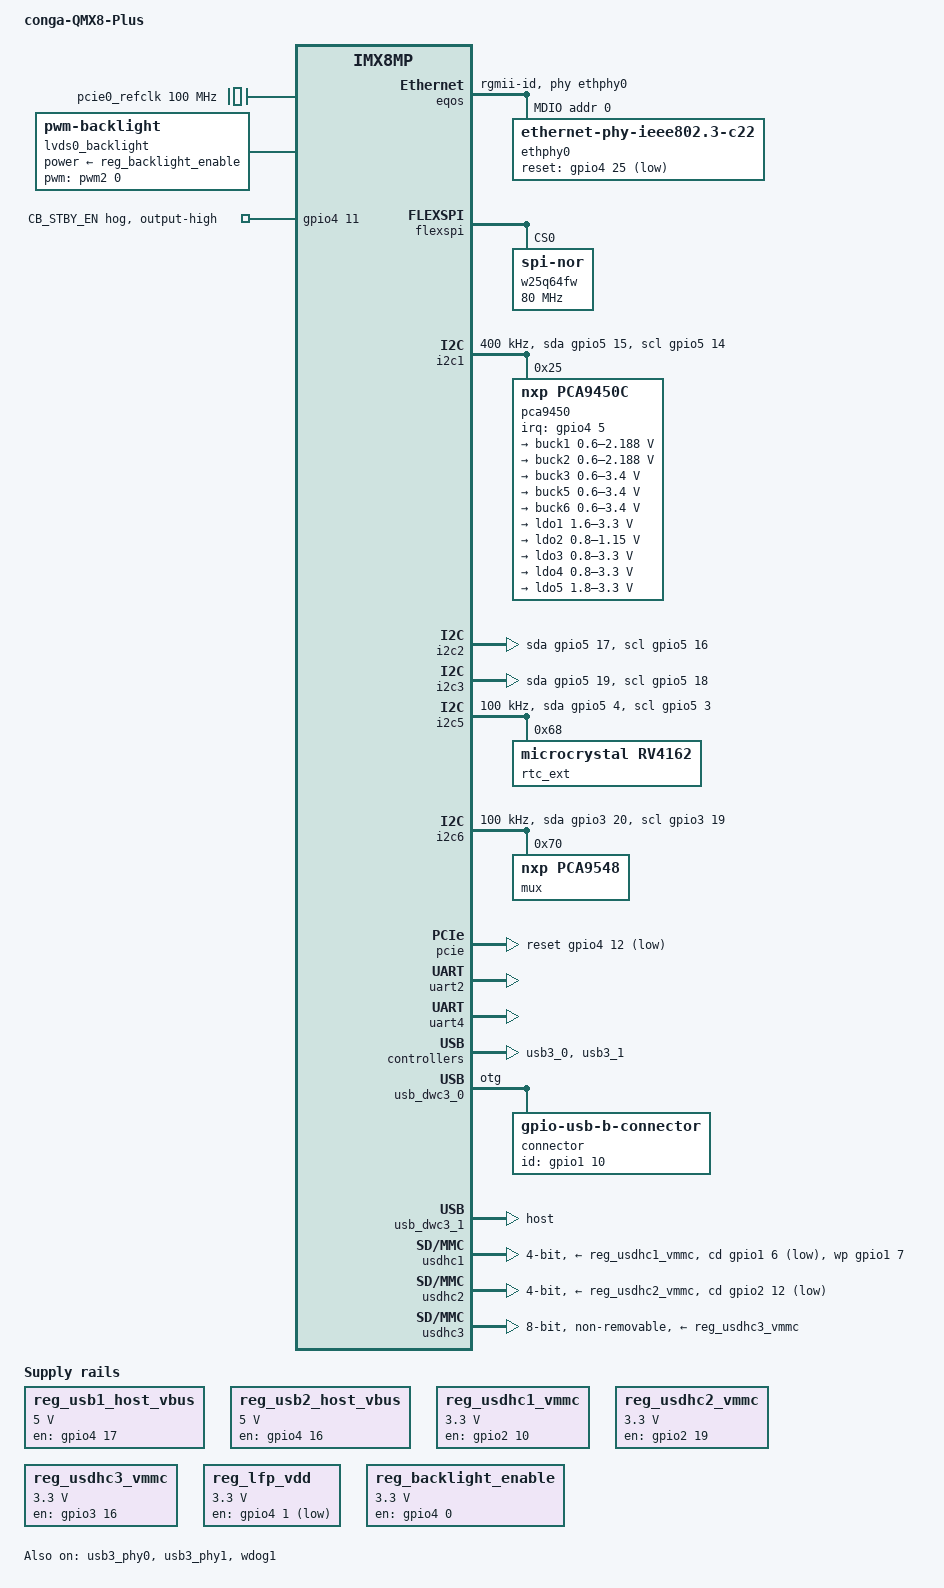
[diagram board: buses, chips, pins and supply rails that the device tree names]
// SPDX-License-Identifier: (GPL-2.0+ OR MIT)
// SPDX-FileCopyrightText: 2019 NXP
// SPDX-FileCopyrightText: 2022 congatec GmbH
// SPDX-FileCopyrightText: 2023 Pengutronix, Johannes Zink <j.zink@pengutronix.de>

#include <arm64/freescale/imx8mp.dtsi>
#include "imx8mp.dtsi"
#include <dt-bindings/usb/pd.h>
#include <dt-bindings/phy/phy-imx8-pcie.h>
#include <dt-bindings/net/ti-dp83867.h>

/ {
	model = "conga-QMX8-Plus";
	compatible = "congatec,qmx8p", "fsl,imx8mp";

	aliases {
		ethernet0 = &eqos;
		rtc0 = &rtc_ext;     /* external I2C RTC M4162 */
		rtc1 = &snvs_rtc;    /* internal in SoC */
	};

	pcie0_refclk: pcie0-refclk {
		compatible = "fixed-clock";
		#clock-cells= <0>;
		clock-frequency = <100000000>;
	};

	reg_usb1_host_vbus: regulator-usb1-vbus {
		compatible = "regulator-fixed";
		pinctrl-names = "default";
		pinctrl-0 = <&pinctrl_usb1_vbus>;
		gpio = <&gpio4 17 GPIO_ACTIVE_HIGH>;
		regulator-name = "usb1_host_vbus";
		regulator-min-microvolt = <5000000>;
		regulator-max-microvolt = <5000000>;
		enable-active-high;
	};

	reg_usb2_host_vbus: regulator-usb2-vbus {
		compatible = "regulator-fixed";
		pinctrl-names = "default";
		pinctrl-0 = <&pinctrl_usb2_vbus>;
		gpio = <&gpio4 16 GPIO_ACTIVE_HIGH>;
		regulator-name = "usb2_host_vbus";
		regulator-min-microvolt = <5000000>;
		regulator-max-microvolt = <5000000>;
		enable-active-high;
	};

	/* reset line for SD1 (Qseven SD Card) interface */
	reg_usdhc1_vmmc: regulator-usdhc1 {
		compatible = "regulator-fixed";
		pinctrl-names = "default";
		pinctrl-0 = <&pinctrl_usdhc1_vmmc>;
		gpio = <&gpio2 10 GPIO_ACTIVE_HIGH>;
		regulator-name = "3v3-sd1";
		regulator-min-microvolt = <3300000>;
		regulator-max-microvolt = <3300000>;
		enable-active-high;
		startup-delay-us = <100>;
		off-on-delay-us = <12000>;
	};

	/* reset line for SD2 (on-SoM µSD) interface */
	reg_usdhc2_vmmc: regulator-usdhc2 {
		compatible = "regulator-fixed";
		pinctrl-names = "default";
		pinctrl-0 = <&pinctrl_usdhc2_vmmc>;
		gpio = <&gpio2 19 GPIO_ACTIVE_HIGH>;
		regulator-name = "3v3-sd2";
		regulator-min-microvolt = <3300000>;
		regulator-max-microvolt = <3300000>;
		enable-active-high;
		startup-delay-us = <100>;
		off-on-delay-us = <12000>;
	};

	/* reset line for SD3 (on-SoM eMMC) interface */
	reg_usdhc3_vmmc: regulator-usdhc3 {
		compatible = "regulator-fixed";
		pinctrl-names = "default";
		pinctrl-0 = <&pinctrl_usdhc3_vmmc>;
		gpio = <&gpio3 16 GPIO_ACTIVE_HIGH>;
		regulator-name = "3v3-sd3";
		regulator-min-microvolt = <3300000>;
		regulator-max-microvolt = <3300000>;
		enable-active-high;
		startup-delay-us = <100>;
		off-on-delay-us = <12000>;
	};

	reg_lfp_vdd: regulator-lfp-vdd {
		compatible = "regulator-fixed";
		pinctrl-names = "default";
		pinctrl-0 = <&pinctrl_display_vdd_en>;
		gpio = <&gpio4 1 GPIO_ACTIVE_HIGH>; // LFP0_VDD_EN
		regulator-name = "Display_Panel_Vdd";
		regulator-min-microvolt = <3300000>;
		regulator-max-microvolt = <3300000>;
	};

	reg_backlight_enable: regulator-backlight {
		compatible = "regulator-fixed";
		pinctrl-names = "default";
		pinctrl-0 = <&pinctrl_lvds0_backlight>;
		gpio = <&gpio4 0 GPIO_ACTIVE_HIGH>;
		regulator-name = "backlight";
		regulator-min-microvolt = <3300000>;
		regulator-max-microvolt = <3300000>;
		enable-active-high;
	};

	lvds0_backlight: lvds0-backlight {
		compatible = "pwm-backlight";
		pwms = <&pwm2 0 100000 0>;
		power-supply = <&reg_backlight_enable>;
		brightness-levels = <0 100>;
		num-interpolated-steps = <100>;
		default-brightness-level = <80>;
	};

	fan0: pwm-fan {
		compatible = "pwm-fan";
		pwms = <&pwm4 4 100000 0>;
		pinctrl-names = "default";
		pinctrl-0 = <&pinctrl_interrupt_fan_in>;
		#cooling-cells = <2>;
		interrupt-parent = <&gpio5>;
		interrupts = <0 IRQ_TYPE_EDGE_FALLING>;
		status = "disabled";
	};
};

&A53_0 {
	cpu-supply = <&buck2>;
};

&A53_1 {
	cpu-supply = <&buck2>;
};

&A53_2 {
	cpu-supply = <&buck2>;
};

&A53_3 {
	cpu-supply = <&buck2>;
};

&pwm1 {
	pinctrl-names = "default";
	pinctrl-0 = <&pinctrl_pwm1>;
};

&pwm2 {
	pinctrl-names = "default";
	pinctrl-0 = <&pinctrl_pwm2>;
};

&pwm4 {
	pinctrl-names = "default";
	pinctrl-0 = <&pinctrl_pwm4>;
};

&ecspi1 {
	pinctrl-names = "default";
	pinctrl-0 = <&pinctrl_ecspi1 &pinctrl_ecspi1_cs>;
	cs-gpios = <&gpio5 9 GPIO_ACTIVE_LOW>;
	#address-cells = <1>;
	#size-cells = <0>;
};

&ecspi2 {
	pinctrl-names = "default";
	pinctrl-0 = <&pinctrl_ecspi2 &pinctrl_ecspi2_cs0>;
	cs-gpios = <&gpio5 13 GPIO_ACTIVE_LOW>;
};

&eqos {
	pinctrl-names = "default";
	pinctrl-0 = <&pinctrl_eqos>, <&pinctrl_gbe0_rst>;
	phy-mode = "rgmii-id";
	phy-handle = <&ethphy0>;

	mdio {
		compatible = "snps,dwmac-mdio";
		#address-cells = <1>;
		#size-cells = <0>;

		/* on-SoM PHY */
		ethphy0: ethernet-phy@0 {
			compatible = "ethernet-phy-ieee802.3-c22";
			reg = <0>;
			reset-gpios = <&gpio4 25 GPIO_ACTIVE_LOW>;
			reset-assert-us = <1000>;
			reset-deassert-us = <1000>;
			ti,rx-internal-delay = <DP83867_RGMIIDCTL_2_00_NS>;
			ti,tx-internal-delay = <DP83867_RGMIIDCTL_2_00_NS>;
			ti,fifo-depth = <DP83867_PHYCR_FIFO_DEPTH_8_B_NIB>;
			ti,clk-output-sel = <DP83867_CLK_O_SEL_OFF>;
		};
	};
};

&flexspi {
	pinctrl-names = "default";
	pinctrl-0 = <&pinctrl_flexspi0>;
	status = "okay";

	w25q64fw: flash@0 {
		compatible = "jedec,spi-nor";
		reg = <0>;
		spi-max-frequency = <80000000>;
		spi-tx-bus-width = <4>;
		spi-rx-bus-width = <4>;
	};
};

&flexcan1 {
	pinctrl-names = "default";
	pinctrl-0 = <&pinctrl_flexcan1>;
};

&flexcan2 {
	pinctrl-names = "default";
	pinctrl-0 = <&pinctrl_flexcan2>;
};

&i2c1 {
	clock-frequency = <400000>;
	pinctrl-names = "default", "gpio";
	pinctrl-0 = <&pinctrl_i2c1>;
	pinctrl-1 = <&pinctrl_i2c1_gpio>;
	scl-gpios = <&gpio5 14 (GPIO_ACTIVE_HIGH | GPIO_OPEN_DRAIN)>;
	sda-gpios = <&gpio5 15 (GPIO_ACTIVE_HIGH | GPIO_OPEN_DRAIN)>;
	status = "okay";

	pca9450: pmic@25 {
		compatible = "nxp,pca9450c";
		reg = <0x25>;
		pinctrl-0 = <&pinctrl_pmic>;
		interrupt-parent = <&gpio4>; /* PMIC_nINT */
		interrupts = <5 IRQ_TYPE_LEVEL_LOW>;

		regulators {
			buck1: BUCK1 {
				regulator-name = "BUCK1";
				regulator-min-microvolt = <600000>;
				regulator-max-microvolt = <2187500>;
				regulator-boot-on;
				regulator-always-on;
				regulator-ramp-delay = <3125>;
			};

			buck2: BUCK2 {
				regulator-name = "BUCK2";
				regulator-min-microvolt = <600000>;
				regulator-max-microvolt = <2187500>;
				regulator-boot-on;
				regulator-always-on;
				regulator-ramp-delay = <3125>;
			};

			buck3: BUCK3 {
				regulator-name = "BUCK3";
				regulator-min-microvolt = <600000>;
				regulator-max-microvolt = <3400000>;
				regulator-boot-on;
				regulator-always-on;
			};

			buck5: BUCK5 {
				regulator-name = "BUCK5";
				regulator-min-microvolt = <600000>;
				regulator-max-microvolt = <3400000>;
				regulator-boot-on;
				regulator-always-on;
			};

			buck6: BUCK6 {
				regulator-name = "BUCK6";
				regulator-min-microvolt = <600000>;
				regulator-max-microvolt = <3400000>;
				regulator-boot-on;
				regulator-always-on;
			};

			ldo1: LDO1 {
				regulator-name = "LDO1";
				regulator-min-microvolt = <1600000>;
				regulator-max-microvolt = <3300000>;
				regulator-boot-on;
				regulator-always-on;
			};

			ldo2: LDO2 {
				regulator-name = "LDO2";
				regulator-min-microvolt = <800000>;
				regulator-max-microvolt = <1150000>;
				regulator-boot-on;
				regulator-always-on;
			};

			ldo3: LDO3 {
				regulator-name = "LDO3";
				regulator-min-microvolt = <800000>;
				regulator-max-microvolt = <3300000>;
				regulator-boot-on;
				regulator-always-on;
			};

			ldo4: LDO4 {
				regulator-name = "LDO4";
				regulator-min-microvolt = <800000>;
				regulator-max-microvolt = <3300000>;
				regulator-boot-on;
				regulator-always-on;
			};

			ldo5: LDO5 {
				regulator-name = "LDO5";
				regulator-min-microvolt = <1800000>;
				regulator-max-microvolt = <3300000>;
			};
		};
	};
};

&i2c2 {
	pinctrl-names = "default", "gpio";
	pinctrl-0 = <&pinctrl_i2c2>;
	pinctrl-1 = <&pinctrl_i2c2_gpio>;
	scl-gpios = <&gpio5 16 (GPIO_ACTIVE_HIGH | GPIO_OPEN_DRAIN)>;
	sda-gpios = <&gpio5 17 (GPIO_ACTIVE_HIGH | GPIO_OPEN_DRAIN)>;
};

&i2c3 {
	pinctrl-names = "default", "gpio";
	pinctrl-0 = <&pinctrl_i2c3>;
	pinctrl-1 = <&pinctrl_i2c3_gpio>;
	scl-gpios = <&gpio5 18 (GPIO_ACTIVE_HIGH | GPIO_OPEN_DRAIN)>;
	sda-gpios = <&gpio5 19 (GPIO_ACTIVE_HIGH | GPIO_OPEN_DRAIN)>;
};

/* i2c-5: RTC */
&i2c5 {
	clock-frequency = <100000>;
	pinctrl-names = "default", "gpio";
	pinctrl-0 = <&pinctrl_i2c5>;
	pinctrl-1 = <&pinctrl_i2c5_gpio>;
	scl-gpios = <&gpio5 3 (GPIO_ACTIVE_HIGH | GPIO_OPEN_DRAIN)>;
	sda-gpios = <&gpio5 4 (GPIO_ACTIVE_HIGH | GPIO_OPEN_DRAIN)>;
	status = "okay";

	rtc_ext: rtc@68 {
		compatible = "microcrystal,rv4162";
		reg = <0x68>;
	};
};

/* i2c-6: I2C splitter */
&i2c6 {
	clock-frequency = <100000>;
	pinctrl-names = "default", "gpio";
	pinctrl-0 = <&pinctrl_i2c6>;
	pinctrl-1 = <&pinctrl_i2c6_gpio>;
	scl-gpios = <&gpio3 19 (GPIO_ACTIVE_HIGH | GPIO_OPEN_DRAIN)>;
	sda-gpios = <&gpio3 20 (GPIO_ACTIVE_HIGH | GPIO_OPEN_DRAIN)>;
	status = "okay";

	mux@70 {
		compatible = "nxp,pca9548";
		reg = <0x70>;
		#address-cells = <1>;
		#size-cells = <0>;

		/* MIPI-CSI 1 */
		imux0: i2c@0 {
			reg = <0>;
			#address-cells = <1>;
			#size-cells = <0>;
		};

		/* MIPI-CSI 2 */
		imux1: i2c@1 {
			reg = <1>;
			#address-cells = <1>;
			#size-cells = <0>;
		};

		/* Qseven LVDS_DID */
		imux2: i2c@2 {
			reg = <2>;
			#address-cells = <1>;
			#size-cells = <0>;
		};

		/* Qseven LVDS_BLC */
		imux3: i2c@3 {
			reg = <3>;
			#address-cells = <1>;
			#size-cells = <0>;
		};

		/* Ports 4 .. 7 not used */
	};
};

&pcie {
	pinctrl-names = "default";
	pinctrl-0 = <&pinctrl_pcie>;
	reset-gpio = <&gpio4 12 GPIO_ACTIVE_LOW>;
	fsl,max-link-speed = <2>;
};

&pcie_phy {
	fsl,refclk-pad-mode = <IMX8_PCIE_REFCLK_PAD_INPUT>;
	clocks = <&pcie0_refclk>;
	clock-names= "ref";
};

&uart1 { /* UART0 connector on Qseven */
	pinctrl-names = "default";
	pinctrl-0 = <&pinctrl_uart1>;
	uart-has-rtscts;
};

&uart2 {
	/* on-SoM UART connector */
	pinctrl-names = "default";
	pinctrl-0 = <&pinctrl_uart2>;
	status = "okay";
};

&uart4 {
	pinctrl-names = "default";
	pinctrl-0 = <&pinctrl_uart4>;
	status = "okay";
};

&usb3_phy0 { /* on-SoM hub */
	fsl,phy-tx-vref-tune = <8>;		// note: downstream
	fsl,phy-tx-preemp-amp-tune = <3>;	// note: downstream
	vbus-supply = <&reg_usb1_host_vbus>;
	status = "okay";
};

&usb3_0 {
	status = "okay";
};

&usb_dwc3_0 { /* Qseven USB_P1 */
	dr_mode = "otg";
	usb-role-switch;
	role-switch-default-mode = "host";

	connector {
		compatible = "gpio-usb-b-connector", "usb-b-connector";
		id-gpios = <&gpio1 10 GPIO_ACTIVE_HIGH>;
		pinctrl-names = "default";
		pinctrl-0 = <&pinctrl_usb1>, <&pinctrl_usb_overcurrent>;
	};
};

&usb3_phy1 {
	vbus-supply = <&reg_usb2_host_vbus>;
	status = "okay";
};

&usb3_1 {
	status = "okay";
};

&usb_dwc3_1 { /* Qseven USB_P0 */
	dr_mode = "host";
	status = "okay";
};

/* Qseven SD Card interface */
&usdhc1 {
	pinctrl-names = "default", "state_100mhz", "state_200mhz";
	pinctrl-0 = <&pinctrl_usdhc1>, <&pinctrl_usdhc1_gpio>;
	pinctrl-1 = <&pinctrl_usdhc1_100mhz>, <&pinctrl_usdhc1_gpio>;
	pinctrl-2 = <&pinctrl_usdhc1_200mhz>, <&pinctrl_usdhc1_gpio>;
	cd-gpios = <&gpio1 6 GPIO_ACTIVE_LOW>;
	wp-gpios = <&gpio1 7 GPIO_ACTIVE_HIGH>;
	vmmc-supply = <&reg_usdhc1_vmmc>;
	bus-width = <4>;
};

/* on-SoM µSD Card slot */
&usdhc2 {
	pinctrl-names = "default", "state_100mhz", "state_200mhz";
	pinctrl-0 = <&pinctrl_usdhc2>, <&pinctrl_usdhc2_gpio>;
	pinctrl-1 = <&pinctrl_usdhc2_100mhz>, <&pinctrl_usdhc2_gpio>;
	pinctrl-2 = <&pinctrl_usdhc2_200mhz>, <&pinctrl_usdhc2_gpio>;
	cd-gpios = <&gpio2 12 GPIO_ACTIVE_LOW>;
	vmmc-supply = <&reg_usdhc2_vmmc>;
	bus-width = <4>;
	status = "okay";
};

/* on-SoM eMMC */
&usdhc3 {
	pinctrl-names = "default", "state_100mhz", "state_200mhz";
	pinctrl-0 = <&pinctrl_usdhc3>;
	pinctrl-1 = <&pinctrl_usdhc3_100mhz>;
	pinctrl-2 = <&pinctrl_usdhc3_200mhz>;
	vmmc-supply = <&reg_usdhc3_vmmc>;
	bus-width = <8>;
	non-removable;
	no-sd;
	no-sdio;
	status = "okay";
};

&wdog1 {
	pinctrl-names = "default";
	pinctrl-0 = <&pinctrl_wdog>;
	fsl,ext-reset-output;
	status = "okay";
};

&gpio1 {
	pinctrl-names = "default";
	pinctrl-0 = <&pinctrl_gbe0_phy_reg>;
};

&gpio4 {
	stby_en-hog {
		gpio-hog;
		gpios = <11 GPIO_ACTIVE_HIGH>;
		output-high;
		line-name = "CB_STBY_EN";
	};
};

&iomuxc {
	pinctrl-names = "default";
	pinctrl-0 =
		<&pinctrl_hog>,
		<&pinctrl_android_buttons>,
		<&pinctrl_pm>,
		<&pinctrl_q7_suspend>,
		<&pinctrl_q7_wdt>;

	pinctrl_hog: hog-grp {
		fsl,pins = <
			MX8MP_IOMUXC_SAI1_RXD7__GPIO4_IO09		0x01c0 /* PM_WAKE#   (X19:32) */
			MX8MP_IOMUXC_SAI1_TXD7__GPIO4_IO19		0x01c0 /* SMB_ALERT# (X19:20) */
			MX8MP_IOMUXC_SAI3_TXFS__GPIO4_IO31		0x01c0 /* I2S_RST# */
		>;
	};

	pinctrl_display_vdd_en: lvds-vdd-enable-grp {
		fsl,pins = <
			MX8MP_IOMUXC_SAI1_RXC__GPIO4_IO01		0x0100 /* LFP_VDD_EN */
		>;
	};

	pinctrl_hdmi: hdmi-grp {
		fsl,pins = <
			MX8MP_IOMUXC_HDMI_DDC_SCL__HDMIMIX_HDMI_SCL	0x400001c3
			MX8MP_IOMUXC_HDMI_DDC_SDA__HDMIMIX_HDMI_SDA	0x400001c3
			MX8MP_IOMUXC_HDMI_HPD__HDMIMIX_HDMI_HPD		0x40000019
			MX8MP_IOMUXC_HDMI_CEC__HDMIMIX_HDMI_CEC		0x40000019
		>;
	};

	/* On module Android buttons (X7) */
	pinctrl_android_buttons: androidbutton-grp {
		fsl,pins = <
			MX8MP_IOMUXC_SAI1_RXD5__GPIO4_IO07		0x01c0 /* X7-2: Btn Vol Up */
			MX8MP_IOMUXC_SD1_DATA4__GPIO2_IO06		0x01c0 /* X7-3: Btn Home */
			MX8MP_IOMUXC_SD1_DATA5__GPIO2_IO07		0x01c0 /* X7-4: Btn Search */
			MX8MP_IOMUXC_SD1_DATA6__GPIO2_IO08		0x01c0 /* X7-5: Btn Back */
			MX8MP_IOMUXC_SAI1_RXD6__GPIO4_IO08		0x01c0 /* X7-6: Btn Menu */
			MX8MP_IOMUXC_SD1_DATA7__GPIO2_IO09		0x01c0 /* X7-7: Btn Vol Down */
		>;
	};

	/* Qseven PM signals */
	pinctrl_pm: pm-grp {
		fsl,pins = <
			MX8MP_IOMUXC_SAI1_RXD0__GPIO4_IO02		0x01c0 /* Q7-21: Sleep Btn */
			MX8MP_IOMUXC_SAI1_TXFS__GPIO4_IO10		0x01c0 /* Q7-22: Lid Btn */
			MX8MP_IOMUXC_SAI1_RXD4__GPIO4_IO06		0x01c0 /* Q7-27: Bat Low */
			MX8MP_IOMUXC_SAI1_RXD1__GPIO4_IO03		0x01c0 /* Q7-69: Thrm */
			MX8MP_IOMUXC_SAI1_MCLK__GPIO4_IO20		0x01c0 /* Q7-71: Thrm Trip (X19:19) */
		>;
	};

	/* Qseven WDT */
	pinctrl_q7_wdt: q7-wdt-grp {
		fsl,pins = <
			MX8MP_IOMUXC_SAI1_RXD2__GPIO4_IO04		0x01c0 /* Q7-70: WDT Trig */
			MX8MP_IOMUXC_SAI1_TXD1__GPIO4_IO13		0x0100 /* Q7-72: WDT Out */
		>;
	};

	/* Qseven suspend signals */
	pinctrl_q7_suspend: q7-suspend-grp {
		fsl,pins = <
			MX8MP_IOMUXC_SAI1_TXC__GPIO4_IO11		0x0100 /* Q7-18: SUS_S3# (enable signal from PMIC) */
			MX8MP_IOMUXC_SAI3_TXD__GPIO5_IO01		0x0100 /* Q7-19: SUS_STAT | GP_OUT0*/
		>;
	};

	/* USB overcurrent */
	pinctrl_usb_overcurrent: usb-overcurrent-grp {
		fsl,pins = <
			MX8MP_IOMUXC_GPIO1_IO13__USB1_OTG_OC		0x01c0
			MX8MP_IOMUXC_SAI3_RXC__GPIO4_IO29		0x01c0 /* USB1 OC as GPIO */
		>;
	};

	pinctrl_pwm1: pwm1-grp {
		fsl,pins = <
			MX8MP_IOMUXC_SPDIF_EXT_CLK__PWM1_OUT		0x116
		>;
	};

	pinctrl_pwm2: pwm2-grp {
		fsl,pins = <
			MX8MP_IOMUXC_SAI5_RXD0__PWM2_OUT		0x116
		>;
	};

	pinctrl_pwm4: pwm4-grp {
		fsl,pins = <
			MX8MP_IOMUXC_SAI3_MCLK__PWM4_OUT		0x116
		>;
	};

	pinctrl_ecspi1: ecspi1-grp {
		fsl,pins = <
			MX8MP_IOMUXC_ECSPI1_SCLK__ECSPI1_SCLK		0x82
			MX8MP_IOMUXC_ECSPI1_MOSI__ECSPI1_MOSI		0x82
			MX8MP_IOMUXC_ECSPI1_MISO__ECSPI1_MISO		0x82
		>;
	};

	pinctrl_ecspi1_cs: ecspi1cs-grp {
		fsl,pins = <
			MX8MP_IOMUXC_ECSPI1_SS0__GPIO5_IO09		0x01c0
		>;
	};

	pinctrl_ecspi2: ecspi2-grp {
		fsl,pins = <
			MX8MP_IOMUXC_ECSPI2_SCLK__ECSPI2_SCLK		0x82
			MX8MP_IOMUXC_ECSPI2_MOSI__ECSPI2_MOSI		0x82
			MX8MP_IOMUXC_ECSPI2_MISO__ECSPI2_MISO		0x82
		>;
	};

	pinctrl_ecspi2_cs0: ecspi2cs0-grp {
		fsl,pins = <
			MX8MP_IOMUXC_ECSPI2_SS0__GPIO5_IO13		0x01c0
		>;
	};

	pinctrl_ecspi2_cs1: ecspi2cs1-grp {
		fsl,pins = <
			MX8MP_IOMUXC_SAI5_MCLK__GPIO3_IO25		0x01c0
		>;
	};

	pinctrl_eqos: eqos-grp {
		fsl,pins = <
			MX8MP_IOMUXC_ENET_MDC__ENET_QOS_MDC				0x3
			MX8MP_IOMUXC_ENET_MDIO__ENET_QOS_MDIO				0x3
			MX8MP_IOMUXC_ENET_RD0__ENET_QOS_RGMII_RD0			0x91
			MX8MP_IOMUXC_ENET_RD1__ENET_QOS_RGMII_RD1			0x91
			MX8MP_IOMUXC_ENET_RD2__ENET_QOS_RGMII_RD2			0x91
			MX8MP_IOMUXC_ENET_RD3__ENET_QOS_RGMII_RD3			0x91
			MX8MP_IOMUXC_ENET_RXC__CCM_ENET_QOS_CLOCK_GENERATE_RX_CLK	0x91
			MX8MP_IOMUXC_ENET_RX_CTL__ENET_QOS_RGMII_RX_CTL			0x91
			MX8MP_IOMUXC_ENET_TD0__ENET_QOS_RGMII_TD0			0x1f
			MX8MP_IOMUXC_ENET_TD1__ENET_QOS_RGMII_TD1			0x1f
			MX8MP_IOMUXC_ENET_TD2__ENET_QOS_RGMII_TD2			0x1f
			MX8MP_IOMUXC_ENET_TD3__ENET_QOS_RGMII_TD3			0x1f
			MX8MP_IOMUXC_ENET_TX_CTL__ENET_QOS_RGMII_TX_CTL			0x1f
			MX8MP_IOMUXC_ENET_TXC__CCM_ENET_QOS_CLOCK_GENERATE_TX_CLK	0x1f

			/* PTP capture INT */
			MX8MP_IOMUXC_SAI2_TXD0__ENET_QOS_1588_EVENT2_IN			0x1c0
		>;
	};

	pinctrl_flexcan1: flexcan1-grp {
		fsl,pins = <
			MX8MP_IOMUXC_SAI5_RXD2__CAN1_RX			0x150
			MX8MP_IOMUXC_SAI5_RXD1__CAN1_TX			0x150
		>;
	};

	pinctrl_flexcan2: flexcan2-grp {
		fsl,pins = <
			MX8MP_IOMUXC_UART3_TXD__CAN2_RX			0x150
			MX8MP_IOMUXC_UART3_RXD__CAN2_TX			0x150
		>;
	};

	pinctrl_flexspi0: flexspi0-grp {
		fsl,pins = <
			MX8MP_IOMUXC_NAND_ALE__FLEXSPI_A_SCLK		0x1c0
			MX8MP_IOMUXC_NAND_CE0_B__FLEXSPI_A_SS0_B	0x82
			MX8MP_IOMUXC_NAND_DATA00__FLEXSPI_A_DATA00	0x82
			MX8MP_IOMUXC_NAND_DATA01__FLEXSPI_A_DATA01	0x82
			MX8MP_IOMUXC_NAND_DATA02__FLEXSPI_A_DATA02	0x82
			MX8MP_IOMUXC_NAND_DATA03__FLEXSPI_A_DATA03	0x82
		>;
	};

	pinctrl_i2c1: i2c1-grp {
		fsl,pins = <
			MX8MP_IOMUXC_I2C1_SCL__I2C1_SCL			0x400001c3
			MX8MP_IOMUXC_I2C1_SDA__I2C1_SDA			0x400001c3
		>;
	};

	pinctrl_i2c1_gpio: i2c1-gpio-grp {
		fsl,pins = <
			MX8MP_IOMUXC_I2C1_SCL__GPIO5_IO14		0x400001c3
			MX8MP_IOMUXC_I2C1_SDA__GPIO5_IO15		0x400001c3
		>;
	};

	pinctrl_i2c2: i2c2-grp {
		fsl,pins = <
			MX8MP_IOMUXC_I2C2_SCL__I2C2_SCL			0x400001c3
			MX8MP_IOMUXC_I2C2_SDA__I2C2_SDA			0x400001c3
		>;
	};

	pinctrl_i2c3: i2c3-grp {
		fsl,pins = <
			MX8MP_IOMUXC_I2C3_SCL__I2C3_SCL			0x400001c3
			MX8MP_IOMUXC_I2C3_SDA__I2C3_SDA			0x400001c3
		>;
	};

	pinctrl_i2c5: i2c5-grp {
		fsl,pins = <
			MX8MP_IOMUXC_SPDIF_TX__I2C5_SCL			0x400001c3
			MX8MP_IOMUXC_SPDIF_RX__I2C5_SDA			0x400001c3
		>;
	};

	pinctrl_i2c6: i2c6-grp {
		fsl,pins = <
			MX8MP_IOMUXC_SAI5_RXFS__I2C6_SCL		0x400001c3
			MX8MP_IOMUXC_SAI5_RXC__I2C6_SDA			0x400001c3
		>;
	};

	pinctrl_i2c2_gpio: i2c2grp-gpio-grp {
		fsl,pins = <
			MX8MP_IOMUXC_I2C2_SCL__GPIO5_IO16		0x400001c3
			MX8MP_IOMUXC_I2C2_SDA__GPIO5_IO17		0x400001c3
		>;
	};

	pinctrl_i2c3_gpio: i2c3grp-gpio-grp {
		fsl,pins = <
			MX8MP_IOMUXC_I2C3_SCL__GPIO5_IO18		0x400001c3
			MX8MP_IOMUXC_I2C3_SDA__GPIO5_IO19		0x400001c3
		>;
	};

	pinctrl_i2c5_gpio: i2c5grp-gpio-grp {
		fsl,pins = <
			MX8MP_IOMUXC_SPDIF_TX__GPIO5_IO03		0x400001c3
			MX8MP_IOMUXC_SPDIF_RX__GPIO5_IO04		0x400001c3
		>;
	};

	pinctrl_i2c6_gpio: i2c6grp-gpio-grp {
		fsl,pins = <
			MX8MP_IOMUXC_SAI5_RXFS__GPIO3_IO19		0x400001c3
			MX8MP_IOMUXC_SAI5_RXC__GPIO3_IO20		0x400001c3
		>;
	};

	pinctrl_pcie: pcie-grp {
		fsl,pins = <
			MX8MP_IOMUXC_I2C4_SCL__PCIE_CLKREQ_B		0x160  /* #OE of on-SoM PCIe CLK generator */
			MX8MP_IOMUXC_I2C4_SDA__GPIO5_IO21		0x41   /* WAKE */
			MX8MP_IOMUXC_SAI1_TXD0__GPIO4_IO12		0x0100 /* reset */
		>;
	};

	pinctrl_pmic: pmicirq-grp {
		fsl,pins = <
			MX8MP_IOMUXC_SAI1_RXD3__GPIO4_IO05		0x41
		>;
	};

	pinctrl_sai5: sai5-grp {
		fsl,pins = <
			MX8MP_IOMUXC_SAI2_MCLK__AUDIOMIX_SAI5_MCLK	0xd6
			MX8MP_IOMUXC_SAI2_RXC__AUDIOMIX_SAI5_TX_BCLK	0xd6
			MX8MP_IOMUXC_SAI2_RXFS__AUDIOMIX_SAI5_TX_SYNC	0xd6
			MX8MP_IOMUXC_SAI3_RXD__AUDIOMIX_SAI5_RX_DATA00	0xd6
			MX8MP_IOMUXC_SAI5_RXD3__AUDIOMIX_SAI5_TX_DATA00	0xd6
		>;
	};

	pinctrl_uart1: uart1-grp {
		fsl,pins = <
			MX8MP_IOMUXC_UART1_RXD__UART1_DCE_RX		0x49
			MX8MP_IOMUXC_UART1_TXD__UART1_DCE_TX		0x49
			MX8MP_IOMUXC_SAI2_RXD0__UART1_DCE_RTS		0x49
			MX8MP_IOMUXC_SAI2_TXFS__UART1_DCE_CTS		0x49
		>;
	};

	pinctrl_uart2: uart2-grp {
		fsl,pins = <
			MX8MP_IOMUXC_UART2_RXD__UART2_DCE_RX		0x49
			MX8MP_IOMUXC_UART2_TXD__UART2_DCE_TX		0x49
		>;
	};

	pinctrl_uart4: uart4-grp {
		fsl,pins = <
			MX8MP_IOMUXC_UART4_RXD__UART4_DCE_RX		0x49
			MX8MP_IOMUXC_UART4_TXD__UART4_DCE_TX		0x49
		>;
	};

	pinctrl_usb1: usb1-grp {
		fsl,pins = <
			MX8MP_IOMUXC_GPIO1_IO10__GPIO1_IO10		0x140	/* USB1 ID */
		>;
	};

	/* Qseven SD Card interface */
	pinctrl_usdhc1: usdhc1-grp {
		fsl,pins = <
			MX8MP_IOMUXC_SD1_CLK__USDHC1_CLK		0x190
			MX8MP_IOMUXC_SD1_CMD__USDHC1_CMD		0x1d0
			MX8MP_IOMUXC_SD1_DATA0__USDHC1_DATA0		0x1d0
			MX8MP_IOMUXC_SD1_DATA1__USDHC1_DATA1		0x1d0
			MX8MP_IOMUXC_SD1_DATA2__USDHC1_DATA2		0x1d0
			MX8MP_IOMUXC_SD1_DATA3__USDHC1_DATA3		0x1d0
			MX8MP_IOMUXC_GPIO1_IO03__USDHC1_VSELECT		0xc1
		>;
	};

	pinctrl_usdhc1_100mhz: usdhc1-100mhz-grp {
		fsl,pins = <
			MX8MP_IOMUXC_SD1_CLK__USDHC1_CLK		0x194
			MX8MP_IOMUXC_SD1_CMD__USDHC1_CMD		0x1d4
			MX8MP_IOMUXC_SD1_DATA0__USDHC1_DATA0		0x1d4
			MX8MP_IOMUXC_SD1_DATA1__USDHC1_DATA1		0x1d4
			MX8MP_IOMUXC_SD1_DATA2__USDHC1_DATA2		0x1d4
			MX8MP_IOMUXC_SD1_DATA3__USDHC1_DATA3		0x1d4
			MX8MP_IOMUXC_GPIO1_IO03__USDHC1_VSELECT		0xc1
		>;
	};

	pinctrl_usdhc1_200mhz: usdhc1-200mhz-grp {
		fsl,pins = <
			MX8MP_IOMUXC_SD1_CLK__USDHC1_CLK		0x196
			MX8MP_IOMUXC_SD1_CMD__USDHC1_CMD		0x1d6
			MX8MP_IOMUXC_SD1_DATA0__USDHC1_DATA0		0x1d6
			MX8MP_IOMUXC_SD1_DATA1__USDHC1_DATA1		0x1d6
			MX8MP_IOMUXC_SD1_DATA2__USDHC1_DATA2		0x1d6
			MX8MP_IOMUXC_SD1_DATA3__USDHC1_DATA3		0x1d6
			MX8MP_IOMUXC_GPIO1_IO03__USDHC1_VSELECT		0xc1
		>;
	};

	pinctrl_usdhc1_gpio: usdhc1-gpio-grp {
		fsl,pins = <
			MX8MP_IOMUXC_GPIO1_IO06__GPIO1_IO06		0x1c4 /* Q7-43: SD CD */
			MX8MP_IOMUXC_GPIO1_IO07__GPIO1_IO07		0x1c4 /* Q7-46: SD WP */
		>;
	};

	pinctrl_usdhc1_vmmc: usdhc1-vmmc-grp {
		fsl,pins = <
			MX8MP_IOMUXC_SD1_RESET_B__GPIO2_IO10		0x41	/* reset */
		>;
	};

	/* on-SoM µSD Card slot */
	pinctrl_usdhc2: usdhc2-grp {
		fsl,pins = <
			MX8MP_IOMUXC_SD2_CLK__USDHC2_CLK		0x190
			MX8MP_IOMUXC_SD2_CMD__USDHC2_CMD		0x1d0
			MX8MP_IOMUXC_SD2_DATA0__USDHC2_DATA0		0x1d0
			MX8MP_IOMUXC_SD2_DATA1__USDHC2_DATA1		0x1d0
			MX8MP_IOMUXC_SD2_DATA2__USDHC2_DATA2		0x1d0
			MX8MP_IOMUXC_SD2_DATA3__USDHC2_DATA3		0x1d0
			MX8MP_IOMUXC_GPIO1_IO04__USDHC2_VSELECT		0xc1
		>;
	};

	pinctrl_usdhc2_100mhz: usdhc2-100mhz-grp {
		fsl,pins = <
			MX8MP_IOMUXC_SD2_CLK__USDHC2_CLK		0x194
			MX8MP_IOMUXC_SD2_CMD__USDHC2_CMD		0x1d4
			MX8MP_IOMUXC_SD2_DATA0__USDHC2_DATA0		0x1d4
			MX8MP_IOMUXC_SD2_DATA1__USDHC2_DATA1		0x1d4
			MX8MP_IOMUXC_SD2_DATA2__USDHC2_DATA2		0x1d4
			MX8MP_IOMUXC_SD2_DATA3__USDHC2_DATA3		0x1d4
			MX8MP_IOMUXC_GPIO1_IO04__USDHC2_VSELECT		0xc1
		>;
	};

	pinctrl_usdhc2_200mhz: usdhc2-200mhz-grp {
		fsl,pins = <
			MX8MP_IOMUXC_SD2_CLK__USDHC2_CLK		0x196
			MX8MP_IOMUXC_SD2_CMD__USDHC2_CMD		0x1d6
			MX8MP_IOMUXC_SD2_DATA0__USDHC2_DATA0		0x1d6
			MX8MP_IOMUXC_SD2_DATA1__USDHC2_DATA1		0x1d6
			MX8MP_IOMUXC_SD2_DATA2__USDHC2_DATA2		0x1d6
			MX8MP_IOMUXC_SD2_DATA3__USDHC2_DATA3		0x1d6
			MX8MP_IOMUXC_GPIO1_IO04__USDHC2_VSELECT		0xc1
		>;
	};

	pinctrl_usdhc2_gpio: usdhc2-gpio-grp {
		fsl,pins = <
			MX8MP_IOMUXC_SD2_CD_B__GPIO2_IO12 		0x1c4
		>;
	};

	pinctrl_usdhc2_vmmc: usdhc2-vmmc-grp {
		fsl,pins = <
			MX8MP_IOMUXC_SD2_RESET_B__GPIO2_IO19		0x41
		>;
	};

	/* on-SoM eMMC */
	pinctrl_usdhc3: usdhc3-grp {
		fsl,pins = <
			MX8MP_IOMUXC_NAND_WE_B__USDHC3_CLK		0x190
			MX8MP_IOMUXC_NAND_WP_B__USDHC3_CMD		0x1d0
			MX8MP_IOMUXC_NAND_DATA04__USDHC3_DATA0		0x1d0
			MX8MP_IOMUXC_NAND_DATA05__USDHC3_DATA1		0x1d0
			MX8MP_IOMUXC_NAND_DATA06__USDHC3_DATA2		0x1d0
			MX8MP_IOMUXC_NAND_DATA07__USDHC3_DATA3		0x1d0
			MX8MP_IOMUXC_NAND_RE_B__USDHC3_DATA4		0x1d0
			MX8MP_IOMUXC_NAND_CE2_B__USDHC3_DATA5		0x1d0
			MX8MP_IOMUXC_NAND_CE3_B__USDHC3_DATA6		0x1d0
			MX8MP_IOMUXC_NAND_CLE__USDHC3_DATA7		0x1d0
			MX8MP_IOMUXC_NAND_CE1_B__USDHC3_STROBE		0x190
		>;
	};

	pinctrl_usdhc3_100mhz: usdhc3-100mhz-grp {
		fsl,pins = <
			MX8MP_IOMUXC_NAND_WE_B__USDHC3_CLK		0x194
			MX8MP_IOMUXC_NAND_WP_B__USDHC3_CMD		0x1d4
			MX8MP_IOMUXC_NAND_DATA04__USDHC3_DATA0		0x1d4
			MX8MP_IOMUXC_NAND_DATA05__USDHC3_DATA1		0x1d4
			MX8MP_IOMUXC_NAND_DATA06__USDHC3_DATA2		0x1d4
			MX8MP_IOMUXC_NAND_DATA07__USDHC3_DATA3		0x1d4
			MX8MP_IOMUXC_NAND_RE_B__USDHC3_DATA4		0x1d4
			MX8MP_IOMUXC_NAND_CE2_B__USDHC3_DATA5		0x1d4
			MX8MP_IOMUXC_NAND_CE3_B__USDHC3_DATA6		0x1d4
			MX8MP_IOMUXC_NAND_CLE__USDHC3_DATA7		0x1d4
			MX8MP_IOMUXC_NAND_CE1_B__USDHC3_STROBE		0x194
		>;
	};

	pinctrl_usdhc3_200mhz: usdhc3-200mhz-grp {
		fsl,pins = <
			MX8MP_IOMUXC_NAND_WE_B__USDHC3_CLK		0x196
			MX8MP_IOMUXC_NAND_WP_B__USDHC3_CMD		0x1d6
			MX8MP_IOMUXC_NAND_DATA04__USDHC3_DATA0		0x1d6
			MX8MP_IOMUXC_NAND_DATA05__USDHC3_DATA1		0x1d6
			MX8MP_IOMUXC_NAND_DATA06__USDHC3_DATA2		0x1d6
			MX8MP_IOMUXC_NAND_DATA07__USDHC3_DATA3		0x1d6
			MX8MP_IOMUXC_NAND_RE_B__USDHC3_DATA4		0x1d6
			MX8MP_IOMUXC_NAND_CE2_B__USDHC3_DATA5		0x1d6
			MX8MP_IOMUXC_NAND_CE3_B__USDHC3_DATA6		0x1d6
			MX8MP_IOMUXC_NAND_CLE__USDHC3_DATA7		0x1d6
			MX8MP_IOMUXC_NAND_CE1_B__USDHC3_STROBE		0x196
		>;
	};

	pinctrl_usdhc3_vmmc: usdhc3-vmmc-grp {
		fsl,pins = <
			MX8MP_IOMUXC_NAND_READY_B__GPIO3_IO16		0x41
		>;
	};

	pinctrl_wdog: wdog-grp {
		fsl,pins = <
			MX8MP_IOMUXC_GPIO1_IO02__WDOG1_WDOG_B		0xc6
		>;
	};

	pinctrl_gpt1_capture1: gpt1-capture1-grp {
		fsl,pins = <
			MX8MP_IOMUXC_SAI3_TXC__GPT1_CAPTURE1		0x01C0
		>;
	};

	pinctrl_interrupt_fan_in: interrupt-fan-in-grp {
		fsl,pins = <
			MX8MP_IOMUXC_SAI3_TXC__GPIO5_IO00		0x01C0
		>;
	};

	pinctrl_usb1_vbus: usb1-vbus-grp {
		fsl,pins = <
			MX8MP_IOMUXC_SAI1_TXD5__GPIO4_IO17		0x0100 /* USB1_PWR */
		>;
	};

	pinctrl_usb2_vbus: usb2-vbus-grp {
		fsl,pins = <
			MX8MP_IOMUXC_SAI1_TXD4__GPIO4_IO16		0x0100 /* USB0S_PWR */
		>;
	};

	pinctrl_gbe0_phy_reg: gbe0-phy-reg-grp {
		fsl,pins = <
			MX8MP_IOMUXC_GPIO1_IO05__GPIO1_IO05		0x01C0 /* GBE0_PWR_EN# */
		>;
	};

	pinctrl_gbe0_rst: gbe0-rst-grp {
		fsl,pins = <
			MX8MP_IOMUXC_SAI2_TXC__GPIO4_IO25		0x01C0 /* GBE0_RST# */
		>;
	};

	pinctrl_lvds0_backlight: lvds0-backlight-grp {
		fsl,pins = <
			MX8MP_IOMUXC_SAI1_RXFS__GPIO4_IO00		0x0100 /* BL_EN */
		>;
	};
};
